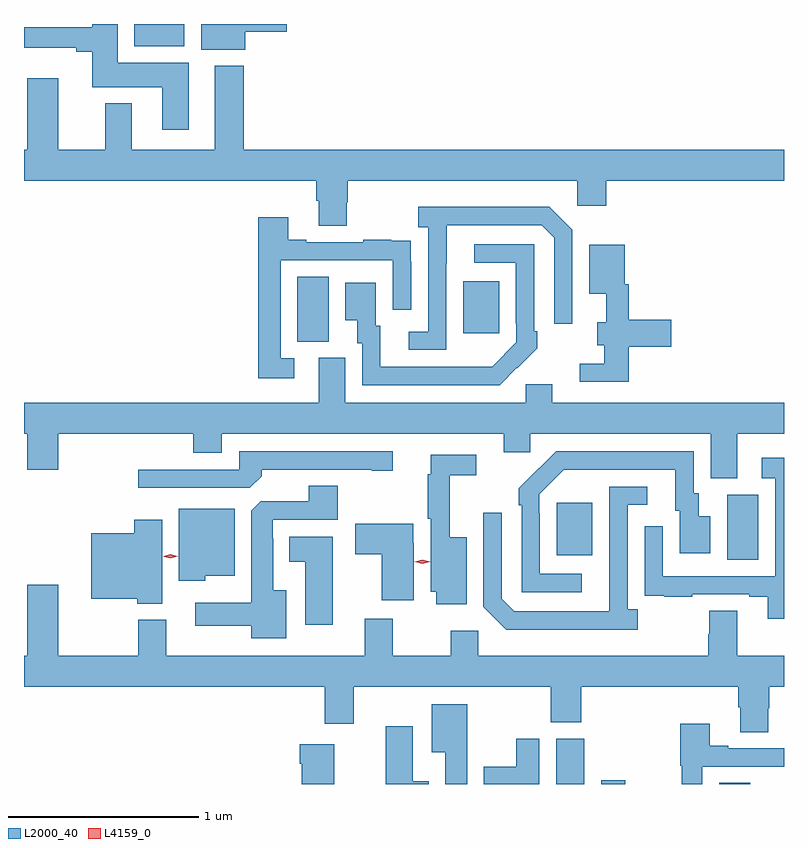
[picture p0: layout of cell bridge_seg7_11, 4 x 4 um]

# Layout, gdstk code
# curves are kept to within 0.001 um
import gdstk
lib = gdstk.Library(unit=1e-6, precision=1e-09)
def R(c, l, rs):  # rectangles x0, y0, x1, y1
    for r in rs: c.add(gdstk.rectangle(r[:2], r[2:], *l))
def P(c, l, *ps):  # polygons
    for p in ps: c.add(gdstk.Polygon(p, *l))
L2000_40 = (2000, 40)
L4159_0 = (4159, 0)

bridge_seg7_11 = lib.new_cell('bridge_seg7_11')
R(bridge_seg7_11, L2000_40, [(1102.856,1046.725,1103.003,1046.964), (1103.094,1046.725,1103.22,1046.744), (1103.714,1046.725,1103.878,1046.732), (1103.756,1047.904,1103.92,1048.248), (1102.859,1047.929,1103.047,1048.204), (1101.494,1049.053,1101.658,1049.396), (1102.367,1049.097,1102.555,1049.371), (1100.636,1050.608,1100.899,1050.725)])
P(bridge_seg7_11, L2000_40, [(1100.923,1050.52),(1100.548,1050.52),(1100.548,1050.725),(1100.414,1050.725),(1100.414,1050.709),(1100.055,1050.709),(1100.055,1050.599),(1100.33,1050.599),(1100.33,1050.58),(1100.414,1050.58),(1100.414,1050.392),(1100.783,1050.392),(1100.783,1050.168),(1100.923,1050.168)],
  [(1101.22,1050.683),(1101.439,1050.683),(1101.439,1050.725),(1100.987,1050.725),(1100.987,1050.59),(1101.22,1050.59)],
  [(1101.753,1049.787),(1101.758,1049.787),(1101.758,1049.9),(1102.968,1049.9),(1102.968,1049.769),(1103.12,1049.769),(1103.12,1049.9),(1104.055,1049.9),(1104.055,1050.064),(1101.212,1050.064),(1101.212,1050.505),(1101.059,1050.505),(1101.059,1050.064),(1100.623,1050.064),(1100.623,1050.307),(1100.483,1050.307),(1100.483,1050.064),(1100.236,1050.064),(1100.236,1050.439),(1100.072,1050.439),(1100.072,1050.064),(1100.055,1050.064),(1100.055,1049.9),(1101.593,1049.9),(1101.593,1049.794),(1101.605,1049.794),(1101.605,1049.662),(1101.753,1049.662)],
  [(1102.278,1049.467),(1102.279,1049.667),(1102.779,1049.667),(1102.845,1049.601),(1102.845,1049.148),(1102.941,1049.148),(1102.941,1049.643),(1102.82,1049.764),(1102.131,1049.764),(1102.131,1049.654),(1102.182,1049.654),(1102.182,1049.106),(1102.08,1049.106),(1102.08,1049.01),(1102.278,1049.01)],
  [(1101.478,1048.965),(1101.405,1048.965),(1101.405,1049.481),(1101.996,1049.481),(1101.996,1049.22),(1102.092,1049.22),(1102.092,1049.474),(1102.091,1049.474),(1102.091,1049.583),(1101.989,1049.583),(1101.989,1049.59),(1101.841,1049.59),(1101.841,1049.577),(1101.541,1049.577),(1101.541,1049.59),(1101.445,1049.59),(1101.445,1049.707),(1101.289,1049.707),(1101.289,1048.86),(1101.478,1048.86)],
  [(1102.649,1048.915),(1102.65,1048.914),(1102.755,1049.019),(1102.755,1049.107),(1102.74,1049.107),(1102.74,1049.565),(1102.425,1049.565),(1102.425,1049.469),(1102.644,1049.469),(1102.644,1049.149),(1102.647,1049.149),(1102.647,1049.049),(1102.519,1048.921),(1101.931,1048.92),(1101.931,1049.136),(1101.907,1049.136),(1101.907,1049.362),(1101.746,1049.362),(1101.746,1049.165),(1101.809,1049.165),(1101.809,1049.046),(1101.834,1049.046),(1101.834,1048.824),(1102.558,1048.824)],
  [(1103.237,1049.026),(1103.461,1049.026),(1103.461,1049.168),(1103.237,1049.168),(1103.237,1049.355),(1103.218,1049.355),(1103.218,1049.563),(1103.03,1049.563),(1103.03,1049.306),(1103.12,1049.306),(1103.12,1049.155),(1103.072,1049.155),(1103.072,1049.033),(1103.109,1049.033),(1103.109,1048.938),(1102.98,1048.938),(1102.98,1048.842),(1103.237,1048.842)],
  [(1103.809,1048.568),(1104.055,1048.568),(1104.055,1048.732),(1102.834,1048.732),(1102.834,1048.83),(1102.695,1048.83),(1102.695,1048.732),(1101.745,1048.732),(1101.745,1048.968),(1101.605,1048.968),(1101.605,1048.732),(1100.055,1048.732),(1100.055,1048.568),(1100.072,1048.568),(1100.072,1048.38),(1100.236,1048.38),(1100.236,1048.568),(1100.945,1048.568),(1100.945,1048.469),(1101.097,1048.469),(1101.097,1048.568),(1102.58,1048.568),(1102.58,1048.47),(1102.719,1048.47),(1102.719,1048.568),(1103.669,1048.568),(1103.669,1048.333),(1103.809,1048.333)],
  [(1101.305,1048.346),(1101.305,1048.38),(1101.884,1048.38),(1101.884,1048.375),(1101.997,1048.375),(1101.997,1048.476),(1101.189,1048.476),(1101.189,1048.38),(1100.655,1048.38),(1100.655,1048.284),(1101.243,1048.284)],
  [(1102.99,1047.831),(1102.77,1047.831),(1102.77,1048.151),(1102.767,1048.151),(1102.767,1048.251),(1102.896,1048.38),(1103.483,1048.38),(1103.483,1048.164),(1103.507,1048.164),(1103.507,1047.939),(1103.668,1047.939),(1103.668,1048.135),(1103.605,1048.135),(1103.605,1048.254),(1103.58,1048.254),(1103.58,1048.476),(1102.856,1048.476),(1102.659,1048.281),(1102.659,1048.193),(1102.674,1048.193),(1102.674,1047.735),(1102.99,1047.735)],
  [(1102.384,1048.024),(1102.295,1048.024),(1102.295,1048.35),(1102.435,1048.35),(1102.435,1048.458),(1102.196,1048.458),(1102.196,1048.355),(1102.181,1048.355),(1102.181,1048.12),(1102.197,1048.12),(1102.197,1047.737),(1102.226,1047.737),(1102.226,1047.672),(1102.384,1047.672)],
  [(1104.055,1048.441),(1103.937,1048.441),(1103.937,1048.335),(1104.009,1048.335),(1104.009,1047.819),(1103.418,1047.819),(1103.418,1048.081),(1103.322,1048.081),(1103.322,1047.826),(1103.323,1047.826),(1103.323,1047.717),(1103.425,1047.717),(1103.425,1047.711),(1103.573,1047.711),(1103.573,1047.723),(1103.873,1047.723),(1103.873,1047.711),(1103.969,1047.711),(1103.969,1047.594),(1104.055,1047.594)],
  [(1101.436,1047.745),(1101.367,1047.745),(1101.367,1048.019),(1101.363,1048.019),(1101.363,1048.116),(1101.707,1048.116),(1101.707,1048.295),(1101.554,1048.295),(1101.554,1048.212),(1101.3,1048.212),(1101.251,1048.163),(1101.251,1047.679),(1100.955,1047.679),(1100.955,1047.557),(1101.251,1047.557),(1101.251,1047.491),(1101.436,1047.491)],
  [(1103.284,1047.646),(1103.232,1047.646),(1103.232,1048.194),(1103.335,1048.194),(1103.335,1048.29),(1103.136,1048.29),(1103.135,1047.633),(1102.635,1047.633),(1102.569,1047.699),(1102.569,1048.153),(1102.473,1048.153),(1102.473,1047.657),(1102.594,1047.536),(1103.284,1047.536)],
  [(1101.009,1047.821),(1101.163,1047.821),(1101.163,1048.174),(1100.87,1048.174),(1100.87,1047.794),(1101.009,1047.794)],
  [(1100.782,1048.117),(1100.636,1048.117),(1100.636,1048.045),(1100.408,1048.045),(1100.408,1047.701),(1100.652,1047.701),(1100.652,1047.674),(1100.782,1047.674)],
  [(1102.105,1047.992),(1102.104,1047.992),(1102.104,1048.095),(1101.798,1048.095),(1101.798,1047.934),(1101.938,1047.934),(1101.938,1047.693),(1102.105,1047.693)],
  [(1101.679,1048.027),(1101.452,1048.027),(1101.452,1047.896),(1101.536,1047.896),(1101.536,1047.564),(1101.679,1047.564)],
  [(1103.973,1047.123),(1103.978,1047.123),(1103.978,1047.236),(1104.055,1047.236),(1104.055,1047.4),(1103.809,1047.4),(1103.809,1047.638),(1103.662,1047.638),(1103.662,1047.513),(1103.657,1047.513),(1103.657,1047.4),(1102.446,1047.4),(1102.446,1047.532),(1102.3,1047.532),(1102.3,1047.4),(1101.996,1047.4),(1101.996,1047.595),(1101.848,1047.595),(1101.848,1047.4),(1100.803,1047.4),(1100.803,1047.589),(1100.656,1047.589),(1100.656,1047.4),(1100.236,1047.4),(1100.236,1047.775),(1100.072,1047.775),(1100.072,1047.4),(1100.055,1047.4),(1100.055,1047.236),(1101.638,1047.236),(1101.638,1047.042),(1101.79,1047.042),(1101.79,1047.236),(1102.828,1047.236),(1102.828,1047.049),(1102.988,1047.049),(1102.988,1047.236),(1103.813,1047.236),(1103.813,1047.13),(1103.825,1047.13),(1103.825,1046.998),(1103.973,1046.998)],
  [(1102.387,1047.145),(1102.202,1047.145),(1102.202,1046.891),(1102.271,1046.891),(1102.271,1046.725),(1102.387,1046.725)],
  [(1103.625,1046.817),(1104.055,1046.817),(1104.055,1046.913),(1103.761,1046.913),(1103.761,1046.926),(1103.665,1046.926),(1103.665,1047.043),(1103.509,1047.043),(1103.509,1046.82),(1103.517,1046.82),(1103.517,1046.725),(1103.625,1046.725)],
  [(1102.186,1046.74),(1102.102,1046.74),(1102.102,1047.028),(1101.959,1047.028),(1101.959,1046.725),(1102.186,1046.725)],
  [(1102.768,1046.962),(1102.646,1046.962),(1102.646,1046.815),(1102.475,1046.815),(1102.475,1046.725),(1102.768,1046.725)],
  [(1101.688,1046.935),(1101.506,1046.935),(1101.506,1046.831),(1101.518,1046.831),(1101.518,1046.725),(1101.688,1046.725)])
P(bridge_seg7_11, L4159_0, [(1102.152,1047.885),(1102.111,1047.895),(1102.11,1047.895),(1102.111,1047.896),(1102.152,1047.905),(1102.193,1047.895),(1102.193,1047.894),(1102.193,1047.894)],
  [(1100.827,1047.913),(1100.79,1047.922),(1100.79,1047.923),(1100.79,1047.923),(1100.826,1047.933),(1100.863,1047.924),(1100.863,1047.924),(1100.863,1047.924)])

lib.write_gds('bridge_seg7_11.gds')
